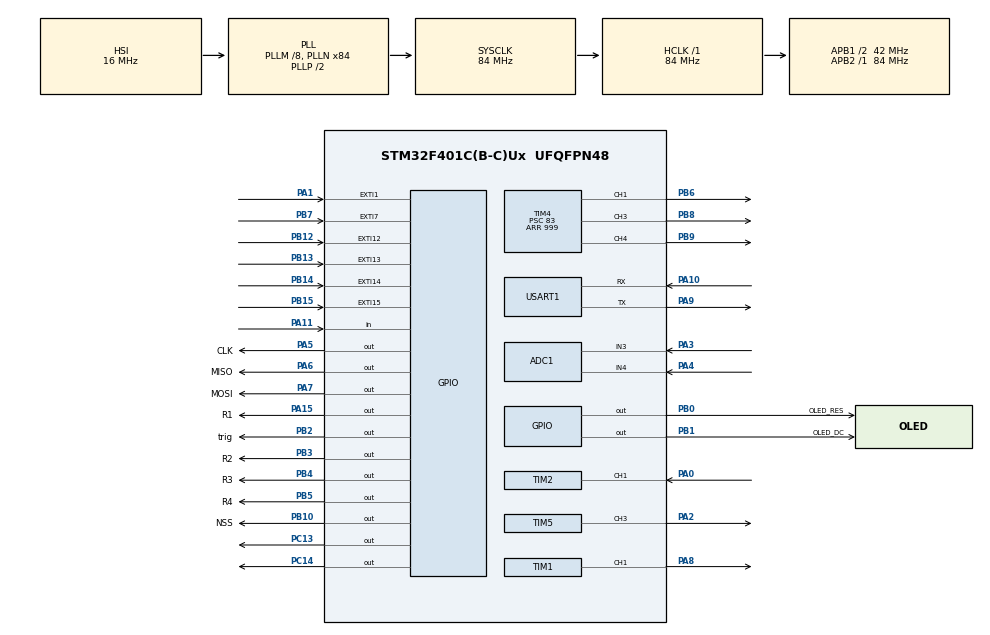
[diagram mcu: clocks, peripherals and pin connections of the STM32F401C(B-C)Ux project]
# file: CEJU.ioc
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ADC1.Channel-0\#ChannelRegularConversion=ADC_CHANNEL_4
ADC1.Channel-1\#ChannelRegularConversion=ADC_CHANNEL_3
ADC1.Channel-2\#ChannelRegularConversion=ADC_CHANNEL_3
ADC1.ClockPrescaler=ADC_CLOCK_SYNC_PCLK_DIV6
ADC1.ContinuousConvMode=DISABLE
ADC1.DMAContinuousRequests=DISABLE
ADC1.DiscontinuousConvMode=ENABLE
ADC1.InjNumberOfConversion=0
ADC1.NbrOfConversion=3
ADC1.NbrOfConversionFlag=1
ADC1.Rank-0\#ChannelRegularConversion=1
ADC1.Rank-1\#ChannelRegularConversion=2
ADC1.Rank-2\#ChannelRegularConversion=3
ADC1.SamplingTime-0\#ChannelRegularConversion=ADC_SAMPLETIME_3CYCLES
ADC1.SamplingTime-1\#ChannelRegularConversion=ADC_SAMPLETIME_3CYCLES
ADC1.SamplingTime-2\#ChannelRegularConversion=ADC_SAMPLETIME_3CYCLES
ADC1.ScanConvMode=ENABLE
ADC1.master=1
Dma.Request0=USART1_RX
Dma.Request1=USART1_TX
Dma.USART1_RX.0.Direction=DMA_PERIPH_TO_MEMORY
Dma.USART1_RX.0.FIFOMode=DMA_FIFOMODE_DISABLE
Dma.USART1_RX.0.Instance=DMA2_Stream2
Dma.USART1_RX.0.MemDataAlignment=DMA_MDATAALIGN_BYTE
Dma.USART1_RX.0.MemInc=DMA_MINC_ENABLE
Dma.USART1_RX.0.Mode=DMA_NORMAL
Dma.USART1_RX.0.PeriphDataAlignment=DMA_PDATAALIGN_BYTE
Dma.USART1_RX.0.PeriphInc=DMA_PINC_DISABLE
Dma.USART1_RX.0.Priority=DMA_PRIORITY_LOW
Dma.USART1_TX.1.Direction=DMA_MEMORY_TO_PERIPH
Dma.USART1_TX.1.FIFOMode=DMA_FIFOMODE_DISABLE
Dma.USART1_TX.1.Instance=DMA2_Stream7
Dma.USART1_TX.1.MemDataAlignment=DMA_MDATAALIGN_BYTE
Dma.USART1_TX.1.MemInc=DMA_MINC_ENABLE
Dma.USART1_TX.1.Mode=DMA_NORMAL
Dma.USART1_TX.1.PeriphDataAlignment=DMA_PDATAALIGN_BYTE
Dma.USART1_TX.1.PeriphInc=DMA_PINC_DISABLE
Dma.USART1_TX.1.Priority=DMA_PRIORITY_LOW
Mcu.Family=STM32F4
Mcu.Name=STM32F401C(B-C)Ux
Mcu.Package=UFQFPN48
NVIC.DMA2_Stream2_IRQn=true\:0\:0\:false\:false\:true\:false\:true\:true
NVIC.DMA2_Stream7_IRQn=true\:0\:0\:false\:false\:true\:false\:true\:true
NVIC.EXTI15_10_IRQn=true\:15\:0\:true\:false\:true\:true\:true\:true
NVIC.EXTI1_IRQn=true\:15\:0\:true\:false\:true\:true\:true\:true
NVIC.EXTI9_5_IRQn=true\:0\:0\:false\:false\:true\:true\:true\:true
NVIC.PriorityGroup=NVIC_PRIORITYGROUP_4
NVIC.TIM2_IRQn=true\:0\:0\:false\:false\:true\:true\:true\:true
NVIC.TIM4_IRQn=true\:0\:0\:false\:false\:true\:true\:true\:true
NVIC.USART1_IRQn=true\:15\:0\:true\:false\:true\:true\:true\:true
PA0-WKUP.Signal=S_TIM2_CH1_ETR
PA1.GPIO_PuPd=GPIO_PULLUP
PA1.Signal=GPXTI1
PA10.Mode=Asynchronous
PA10.Signal=USART1_RX
PA11.Signal=GPIO_Input
PA13.Mode=Serial_Wire
PA13.Signal=SYS_JTMS-SWDIO
PA14.Mode=Serial_Wire
PA14.Signal=SYS_JTCK-SWCLK
PA15.GPIO_Label=R1
PA15.Signal=GPIO_Output
PA2.Signal=S_TIM5_CH3
PA3.Signal=ADCx_IN3
PA4.Signal=ADCx_IN4
PA5.GPIO_Label=CLK
PA5.Signal=GPIO_Output
PA6.GPIO_Label=MISO
PA6.Signal=GPIO_Output
PA7.GPIO_Label=MOSI
PA7.Signal=GPIO_Output
PA8.Signal=S_TIM1_CH1
PA9.Mode=Asynchronous
PA9.Signal=USART1_TX
PB0.GPIO_Label=OLED_RES
PB0.GPIO_Speed=GPIO_SPEED_FREQ_HIGH
PB0.Signal=GPIO_Output
PB1.GPIO_Label=OLED_DC
PB1.GPIO_Speed=GPIO_SPEED_FREQ_HIGH
PB1.Signal=GPIO_Output
PB10.GPIO_Label=NSS
PB10.Signal=GPIO_Output
PB12.GPIO_ModeDefaultEXTI=GPIO_MODE_IT_FALLING
PB12.GPIO_PuPd=GPIO_PULLUP
PB12.Signal=GPXTI12
PB13.GPIO_ModeDefaultEXTI=GPIO_MODE_IT_FALLING
PB13.GPIO_PuPd=GPIO_PULLUP
PB13.Signal=GPXTI13
PB14.GPIO_ModeDefaultEXTI=GPIO_MODE_IT_FALLING
PB14.GPIO_PuPd=GPIO_PULLUP
PB14.Signal=GPXTI14
PB15.GPIO_ModeDefaultEXTI=GPIO_MODE_IT_FALLING
PB15.GPIO_PuPd=GPIO_PULLUP
PB15.Signal=GPXTI15
PB2.GPIO_Label=trig
PB2.Signal=GPIO_Output
PB3.GPIO_Label=R2
PB3.Signal=GPIO_Output
PB4.GPIO_Label=R3
PB4.Signal=GPIO_Output
PB5.GPIO_Label=R4
PB5.Signal=GPIO_Output
PB6.Signal=S_TIM4_CH1
PB7.GPIO_PuPd=GPIO_PULLUP
PB7.Signal=GPXTI7
PB8.Signal=S_TIM4_CH3
PB9.Signal=S_TIM4_CH4
PC13-ANTI_TAMP.Signal=GPIO_Output
PC14-OSC32_IN.GPIO_ModeDefaultOutputPP=GPIO_MODE_OUTPUT_PP
PC14-OSC32_IN.GPIO_PuPd=GPIO_PULLUP
PC14-OSC32_IN.PinState=GPIO_PIN_SET
PC14-OSC32_IN.Signal=GPIO_Output
PH0\ -\ OSC_IN.Mode=HSE-External-Oscillator
PH0\ -\ OSC_IN.Signal=RCC_OSC_IN
PH1\ -\ OSC_OUT.Mode=HSE-External-Oscillator
PH1\ -\ OSC_OUT.Signal=RCC_OSC_OUT
ProjectManager.HeapSize=0x200
ProjectManager.StackSize=0x400
ProjectManager.TargetToolchain=MDK-ARM V5.32
RCC.48MHZClocksFreq_Value=42000000
RCC.AHBFreq_Value=84000000
RCC.APB1CLKDivider=RCC_HCLK_DIV2
RCC.APB1Freq_Value=42000000
RCC.APB1TimFreq_Value=84000000
RCC.APB2Freq_Value=84000000
RCC.APB2TimFreq_Value=84000000
RCC.CortexFreq_Value=84000000
RCC.HCLKFreq_Value=84000000
RCC.HSE_VALUE=25000000
RCC.HSI_VALUE=16000000
RCC.LSE_VALUE=32768
RCC.PLLM=8
RCC.PLLN=84
RCC.SYSCLKFreq_VALUE=84000000
RCC.SYSCLKSource=RCC_SYSCLKSOURCE_PLLCLK
RCC.VCOOutputFreq_Value=168000000
SH.ADCx_IN3.0=ADC1_IN3,IN3
SH.ADCx_IN4.0=ADC1_IN4,IN4
SH.S_TIM1_CH1.0=TIM1_CH1,PWM Generation1 CH1
SH.S_TIM2_CH1_ETR.0=TIM2_CH1,Input_Capture1_from_TI1
SH.S_TIM2_CH1_ETR.1=TIM2_CH1,TriggerSource_TI1FP1
SH.S_TIM4_CH1.0=TIM4_CH1,PWM Generation1 CH1
SH.S_TIM4_CH3.0=TIM4_CH3,PWM Generation3 CH3
SH.S_TIM4_CH4.0=TIM4_CH4,PWM Generation4 CH4
SH.S_TIM5_CH3.0=TIM5_CH3,PWM Generation3 CH3
TIM1.Channel-PWM\ Generation1\ CH1=TIM_CHANNEL_1
TIM1.Period=999
TIM1.Prescaler=83
TIM2.Channel-Input_Capture1_from_TI1=TIM_CHANNEL_1
TIM2.Channel-Input_Capture2_from_TI1_63=TIM_CHANNEL_2
TIM2.ICPolarity_CH2=TIM_INPUTCHANNELPOLARITY_FALLING
TIM4.Channel-PWM\ Generation1\ CH1=TIM_CHANNEL_1
TIM4.Channel-PWM\ Generation3\ CH3=TIM_CHANNEL_3
TIM4.Channel-PWM\ Generation4\ CH4=TIM_CHANNEL_4
TIM4.Period=999
TIM4.Prescaler=83
TIM5.AutoReloadPreload=TIM_AUTORELOAD_PRELOAD_ENABLE
TIM5.Channel-PWM\ Generation3\ CH3=TIM_CHANNEL_3
TIM5.Period=999
TIM5.Prescaler=83
USART1.VirtualMode=VM_ASYNC
VP_ADC1_TempSens_Input.Mode=IN-TempSens
VP_TIM1_VS_ClockSourceINT.Mode=Internal
VP_TIM2_VS_ClockSourceINT.Mode=Internal
VP_TIM2_VS_ControllerModeReset.Mode=Reset Mode
VP_TIM2_VS_indirect_ch1.Mode=Input_Capture2_from_TI1_63
VP_TIM4_VS_ClockSourceINT.Mode=Internal
VP_TIM5_VS_ClockSourceINT.Mode=Internal
VP_TIM9_VS_ClockSourceINT.Mode=Internal
board=custom

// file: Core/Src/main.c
/* USER CODE BEGIN Header */
/**
  ******************************************************************************
  * @file           : main.c
  * @brief          : Main program body
  ******************************************************************************
  * @attention
  *
  * Copyright (c) 2023 STMicroelectronics.
  * All rights reserved.
  *
  * This software is licensed under terms that can be found in the LICENSE file
  * in the root directory of this software component.
  * If no LICENSE file comes with this software, it is provided AS-IS.
  *
  ******************************************************************************
  */
/* USER CODE END Header */
#include "main.h"
#include "adc.h"
#include "dma.h"
#include "tim.h"
#include "usart.h"
#include "gpio.h"

/* USER CODE BEGIN Includes */
#include "stdio.h"
#include "oled.h"
#include "bmp.h"
/* USER CODE END Includes */

/* USER CODE BEGIN PV */
uint8_t gpioReadStatus = GPIO_PIN_RESET;
/* USER CODE END PV */

void SystemClock_Config(void);

/* USER CODE BEGIN 0 */
float pulseWidth;//脉宽（测距）
int second=0;//秒数
double m=0;
double s=0;
extern int keyflag;//回退键标志位
extern int keyflag2;//其他标志位
extern int keyflag3;
int taskflag1=0;
int task2flag=0;
int task3freq=1000;
float task3duty_change=0.5;
int task3duty_flag=1;
uint8_t  DATA[5]={0x3C,0x02,0,0,0x32};//串口数据包
int uart_task_flag1=0;
uint8_t RxBuffer[50];//串口接收
extern DMA_HandleTypeDef hdma_usart1_rx;//串口接收 关闭dma传输过半中断 需要的外部变量
void Trig()//触发函数，超声波测距起始信号
{
HAL_GPIO_WritePin(GPIOB,GPIO_PIN_2,GPIO_PIN_SET);
HAL_Delay(1);//延时1ms
HAL_GPIO_WritePin(GPIOB,GPIO_PIN_2,GPIO_PIN_RESET);
}

float duty=0;
float freq=0;
int fputc(int ch, FILE *f)
{
HAL_UART_Transmit(&huart1, (uint8_t *)&ch, 1, 0xffff);
return ch;
}

uint8_t Key_Scan(void)
{
	GPIO_InitTypeDef GPIO_InitStruct = {0};

	/*?4????????*/
	HAL_GPIO_WritePin(GPIOB, GPIO_PIN_12|GPIO_PIN_13|GPIO_PIN_14|GPIO_PIN_15, GPIO_PIN_RESET);

	//?4???????
	GPIO_InitStruct.Pin = GPIO_PIN_12|GPIO_PIN_13|GPIO_PIN_14|GPIO_PIN_15;
	GPIO_InitStruct.Mode = GPIO_MODE_OUTPUT_PP;
	GPIO_InitStruct.Pull = GPIO_NOPULL;
	GPIO_InitStruct.Speed = GPIO_SPEED_FREQ_LOW;
	HAL_GPIO_Init(GPIOB, &GPIO_InitStruct);

	//?4???????
	GPIO_InitStruct.Pin = GPIO_PIN_3|GPIO_PIN_4|GPIO_PIN_5;
	GPIO_InitStruct.Mode = GPIO_MODE_INPUT;
	GPIO_InitStruct.Pull = GPIO_PULLUP;
	HAL_GPIO_Init(GPIOB, &GPIO_InitStruct);
	GPIO_InitStruct.Pin = GPIO_PIN_15;
	HAL_GPIO_Init(GPIOA, &GPIO_InitStruct);
	HAL_Delay(10);
	if(HAL_GPIO_ReadPin(GPIOA,GPIO_PIN_15)==GPIO_PIN_RESET)//???1?
	{
		/*?4????????*/
		HAL_GPIO_WritePin(GPIOB, GPIO_PIN_3|GPIO_PIN_4|GPIO_PIN_5, GPIO_PIN_RESET);
		HAL_GPIO_WritePin(GPIOA, GPIO_PIN_15, GPIO_PIN_RESET);
		//?4???????
		GPIO_InitStruct.Mode = GPIO_MODE_OUTPUT_PP;
		GPIO_InitStruct.Pin = GPIO_PIN_3|GPIO_PIN_4|GPIO_PIN_5;
		HAL_GPIO_Init(GPIOB, &GPIO_InitStruct);
		GPIO_InitStruct.Pin = GPIO_PIN_15;
		HAL_GPIO_Init(GPIOA, &GPIO_InitStruct);
		//?4???????
		GPIO_InitStruct.Mode = GPIO_MODE_INPUT;
		GPIO_InitStruct.Pull = GPIO_PULLUP;
	  GPIO_InitStruct.Pin = GPIO_PIN_12|GPIO_PIN_13|GPIO_PIN_14|GPIO_PIN_15;
		HAL_GPIO_Init(GPIOB, &GPIO_InitStruct);
		HAL_Delay(10);
		if(HAL_GPIO_ReadPin(GPIOB, GPIO_PIN_15)==GPIO_PIN_RESET)return 10;//+
		if(HAL_GPIO_ReadPin(GPIOB, GPIO_PIN_14)==GPIO_PIN_RESET)return 3;
		if(HAL_GPIO_ReadPin(GPIOB, GPIO_PIN_13)==GPIO_PIN_RESET)return 2;
		if(HAL_GPIO_ReadPin(GPIOB, GPIO_PIN_12)==GPIO_PIN_RESET)return 1;
	}
	if(HAL_GPIO_ReadPin(GPIOB,GPIO_PIN_3)==GPIO_PIN_RESET)//???2?
	{
			/*?4????????*/
		HAL_GPIO_WritePin(GPIOB, GPIO_PIN_3|GPIO_PIN_4|GPIO_PIN_5, GPIO_PIN_RESET);
		HAL_GPIO_WritePin(GPIOA, GPIO_PIN_15, GPIO_PIN_RESET);
		//?4???????
		GPIO_InitStruct.Mode = GPIO_MODE_OUTPUT_PP;
		GPIO_InitStruct.Pin = GPIO_PIN_3|GPIO_PIN_4|GPIO_PIN_5;
		HAL_GPIO_Init(GPIOB, &GPIO_InitStruct);
		GPIO_InitStruct.Pin = GPIO_PIN_15;
		HAL_GPIO_Init(GPIOA, &GPIO_InitStruct);
		//?4???????
		GPIO_InitStruct.Mode = GPIO_MODE_INPUT;
		GPIO_InitStruct.Pull = GPIO_PULLUP;
	  GPIO_InitStruct.Pin = GPIO_PIN_12|GPIO_PIN_13|GPIO_PIN_14|GPIO_PIN_15;
		HAL_GPIO_Init(GPIOB, &GPIO_InitStruct);
		HAL_Delay(10);
		if(HAL_GPIO_ReadPin(GPIOB, GPIO_PIN_15)==GPIO_PIN_RESET)return 11;//-
		if(HAL_GPIO_ReadPin(GPIOB, GPIO_PIN_14)==GPIO_PIN_RESET)return 6;
		if(HAL_GPIO_ReadPin(GPIOB, GPIO_PIN_13)==GPIO_PIN_RESET)return 5;
		if(HAL_GPIO_ReadPin(GPIOB, GPIO_PIN_12)==GPIO_PIN_RESET)return 4;
	}
	if(HAL_GPIO_ReadPin(GPIOB,GPIO_PIN_4)==GPIO_PIN_RESET)//???3?
	{
			/*?4????????*/
		HAL_GPIO_WritePin(GPIOB, GPIO_PIN_3|GPIO_PIN_4|GPIO_PIN_5, GPIO_PIN_RESET);
		HAL_GPIO_WritePin(GPIOA, GPIO_PIN_15, GPIO_PIN_RESET);
		//?4???????
		GPIO_InitStruct.Mode = GPIO_MODE_OUTPUT_PP;
		GPIO_InitStruct.Pin = GPIO_PIN_3|GPIO_PIN_4|GPIO_PIN_5;
		HAL_GPIO_Init(GPIOB, &GPIO_InitStruct);
		GPIO_InitStruct.Pin = GPIO_PIN_15;
		HAL_GPIO_Init(GPIOA, &GPIO_InitStruct);
		//?4???????
		GPIO_InitStruct.Mode = GPIO_MODE_INPUT;
		GPIO_InitStruct.Pull = GPIO_PULLUP;
	  GPIO_InitStruct.Pin = GPIO_PIN_12|GPIO_PIN_13|GPIO_PIN_14|GPIO_PIN_15;
		HAL_GPIO_Init(GPIOB, &GPIO_InitStruct);
		HAL_Delay(10);
		if(HAL_GPIO_ReadPin(GPIOB, GPIO_PIN_15)==GPIO_PIN_RESET)return 12;//*
		if(HAL_GPIO_ReadPin(GPIOB, GPIO_PIN_14)==GPIO_PIN_RESET)return 9;
		if(HAL_GPIO_ReadPin(GPIOB, GPIO_PIN_13)==GPIO_PIN_RESET)return 8;
		if(HAL_GPIO_ReadPin(GPIOB, GPIO_PIN_12)==GPIO_PIN_RESET)return 7;
	}
	if(HAL_GPIO_ReadPin(GPIOB,GPIO_PIN_5)==GPIO_PIN_RESET)//???4?
	{
			/*?4????????*/
		HAL_GPIO_WritePin(GPIOB, GPIO_PIN_3|GPIO_PIN_4|GPIO_PIN_5, GPIO_PIN_RESET);
		HAL_GPIO_WritePin(GPIOA, GPIO_PIN_15, GPIO_PIN_RESET);
		//?4???????
		GPIO_InitStruct.Mode = GPIO_MODE_OUTPUT_PP;
		GPIO_InitStruct.Pin = GPIO_PIN_3|GPIO_PIN_4|GPIO_PIN_5;
		HAL_GPIO_Init(GPIOB, &GPIO_InitStruct);
		GPIO_InitStruct.Pin = GPIO_PIN_15;
		HAL_GPIO_Init(GPIOA, &GPIO_InitStruct);
		//?4???????
		GPIO_InitStruct.Mode = GPIO_MODE_INPUT;
		GPIO_InitStruct.Pull = GPIO_PULLUP;
	  GPIO_InitStruct.Pin = GPIO_PIN_12|GPIO_PIN_13|GPIO_PIN_14|GPIO_PIN_15;
		HAL_GPIO_Init(GPIOB, &GPIO_InitStruct);
		HAL_Delay(10);
		if(HAL_GPIO_ReadPin(GPIOB, GPIO_PIN_15)==GPIO_PIN_RESET)return 13;///
		if(HAL_GPIO_ReadPin(GPIOB, GPIO_PIN_14)==GPIO_PIN_RESET)return 14;//=
		if(HAL_GPIO_ReadPin(GPIOB, GPIO_PIN_13)==GPIO_PIN_RESET)return 0;
		if(HAL_GPIO_ReadPin(GPIOB, GPIO_PIN_12)==GPIO_PIN_RESET)return 15;//.
	}
	return 20;
}
void SendIlluminanceData(uint8_t illuminance, GPIO_TypeDef* GPIOx, uint16_t GPIO_Pin) {
    char dataToSend[5]; // ????????
    // ????:LxxRy,?? xx ?????(???),y ??GPIO???1?0

    // ??????? 00 ? 99 ????
    if (illuminance <10) {
        illuminance = 99;
    }
		else if(illuminance <10)illuminance=10;
    // ????GPIO?????,??????????1?0
    gpioReadStatus = HAL_GPIO_ReadPin(GPIOx, GPIO_Pin);

    // ??????
    dataToSend[0] = 'L'; // ????'L'
    dataToSend[1] = '0' + (illuminance / 10); // ???????
    dataToSend[2] = '0' + (illuminance % 10); // ???????
    dataToSend[3] = 'R'; // ????'R'
    dataToSend[4] = gpioReadStatus ? '1' : '0';  // ????????GPIO??

    // ????????
    HAL_UART_Transmit(&huart1, (uint8_t *)dataToSend, sizeof(dataToSend), HAL_MAX_DELAY);
}
/* USER CODE END 0 */

int main(void)
{

  /* MCU Configuration--------------------------------------------------------*/

  /* Reset of all peripherals, Initializes the Flash interface and the Systick. */
  HAL_Init();

  /* Configure the system clock */
  SystemClock_Config();

  /* Initialize all configured peripherals */
  MX_GPIO_Init();
  MX_DMA_Init();
  MX_TIM4_Init();
  MX_TIM2_Init();
  MX_ADC1_Init();
  MX_USART1_UART_Init();
  MX_TIM9_Init();
  MX_TIM5_Init();
  MX_TIM1_Init();
  /* USER CODE BEGIN 2 */
	OLED_Init();
	HAL_TIM_PWM_Start(&htim4,TIM_CHANNEL_1);
	HAL_TIM_PWM_Start(&htim5,TIM_CHANNEL_3);
	HAL_TIM_PWM_Start(&htim1,TIM_CHANNEL_1);
	HAL_TIM_PWM_Start(&htim4,TIM_CHANNEL_3);
	HAL_TIM_PWM_Start(&htim4,TIM_CHANNEL_4);
	//TIM4->CCR1=200;TIM4->ARR=300;//产生一个占空比50%，频率1k的pwm波
	TIM5->CCR3=50;
	HAL_TIM_Base_Start_IT(&htim4);
HAL_TIM_IC_Start_IT(&htim2, TIM_CHANNEL_1);
HAL_TIM_IC_Start_IT(&htim2, TIM_CHANNEL_2);
//HAL_UART_Receive_IT(&huart1, RxBuffer, 3);
HAL_UARTEx_ReceiveToIdle_DMA(&huart1,RxBuffer, 50);//第一次开启串口接收
//uint32_t adc_value1;
//uint32_t adc_value2;
uint32_t adc_value[3];
  /* USER CODE END 2 */

  /* Infinite loop */
  while (1)
  {

    /* USER CODE BEGIN 3 */

	  /*******ADC测量********/
		//HAL_ADC_Start_DMA(&hadc1,&adc_value1,1);
    //HAL_ADC_Start_DMA(&hadc1,&adc_value2,1);

	  //adc_value=HAL_ADC_GetValue(&hadc1);

			for(int i=0;i<2;i++)
		{
			HAL_ADC_Start(&hadc1);
			HAL_ADC_PollForConversion(&hadc1,50);
			adc_value[i]=HAL_ADC_GetValue(&hadc1);
		}
			HAL_ADC_Stop(&hadc1);

		int a=(int)adc_value[1]/41;  //light
		//printf("%d\n",a);
		/*
		TIM4->CCR1=a/2;
		TIM4->ARR=a;
		*/
		OLED_ShowString(0,4,"            ");
		//OLED_Show_int(60,4,adc_value[0]);
		OLED_Show_int(0,4,abs(a-99));
		OLED_ShowString(0,8,"status:");
		OLED_Show_int(0,8,gpioReadStatus);
		SendIlluminanceData((uint8_t)abs(a-99),GPIOA,GPIO_PIN_11);
		//printf("%d\n",abs(a-99));
		HAL_Delay(500);

		/*******画图******/
		//OLED_DrawBMP(0, 0, 128, 8, yuanshen);

		/*******按键检测*****/
		{
//		if(keyflag)
//		{
//			do//等到有输入值再继续执行程序
//			{
//				 b=Key_Scan();
//			}
//		while(b==20);
//			if(b==0)
//				HAL_GPIO_TogglePin(GPIOB,GPIO_PIN_9);
//			if(b==1)
//			{
//			 TIM5->CCR3=50;//PWM占空比
//			 TIM5->ARR=100;//PWM周期
//			}
//			if(b==2)
//			{
//			 TIM5->ARR=100;//改周期
//			 if(task2flag==0)
//			 {
//				 TIM5->CCR3=10;//改占空比
//			 task2flag=1;
//			 }
//			 else
//			 {
//				 task2flag=1;
//				 if(TIM5->CCR3>90)
//					 task2flag=0;
//				else
//					{
//					TIM5->CCR3++;
//				  }
//			 }
//			}
//			if(b==3)
//			{
//				printf("task3ferq:%d\n",task3freq);printf("Duty:%.2f,freq:%.2f\r\n",duty,freq);
//
//				task3duty_change=(float)TIM5->CCR3/(float)TIM5->ARR;
//				TIM5->ARR=(int)(100000.0/task3freq);printf("arr:%d\n",TIM5->ARR);
//				TIM5->CCR3=(int)(task3duty_change*(float)TIM5->ARR);OLED_Show_int(60,2,(int)(task3duty_change*(float)TIM5->ARR));OLED_Show_int(60,4,TIM5->ARR);printf("arr2:%d\n",TIM5->ARR);
//				if(task3freq>9500)
//					task3freq=500;
//				task3freq=task3freq+500;
//				printf("task3ferq:%d\n",task3freq);printf("Duty:%.2f,freq:%.2f\r\n",duty,freq);printf("task3duty_change:%f\n\n",task3duty_change);
//			}
//			if(b==4)
//			{
//				OLED_Show_float(0,0,duty);
//				OLED_Show_float(60,0,freq);
//			}
//			if(b==5)
//			{

//			}
//
//
//
//
//
//
//
//			keyflag=0;
//		}
}

switch(Key_Scan())
{
	case 0:
		HAL_GPIO_TogglePin(GPIOB,GPIO_PIN_9);
	while(keyflag==0){HAL_Delay(1);}//按下按键返回上一级
	break;
	case 1:/********输出定频率方波********/
		OLED_Clear();
	 TIM5->CCR3=500;//PWM占空比
	 TIM5->ARR=1000-1;//PWM周期
	 printf("Duty:%.2f,freq:%.2f\r\n",duty,freq);
	while(keyflag==0){HAL_Delay(1);}//按下按键返回上一级
	break;
	case 2:/********改占空比+1%********/
		OLED_Clear();
	 TIM5->ARR=1000-1;//改周期
	 if(task2flag==0)
	 {
		 TIM5->CCR3=100;//改占空比
		task2flag=1;
	 }
	 else
	 {
		 task2flag=1;
		 if(TIM5->CCR3>900)
			 task2flag=0;
			else
			TIM5->CCR3=TIM5->CCR3+10;
	 }
	  printf("Duty:%.2f,freq:%.2f\r\n",duty,freq);
	 while(keyflag==0){HAL_Delay(1);}//按下按键返回上一级
		break;
	case 3:/********变化输出频率+500********/
		OLED_Clear();
		//printf("task3ferq:%d\n",task3freq);printf("Duty:%.2f,freq:%.2f\r\n",duty,freq);
		if(task3duty_flag)
			task3duty_change=(float)TIM5->CCR3/(float)TIM5->ARR;//获取原先的输出占空比
		TIM5->ARR=(int)(1000000.0/task3freq)-1;//根据频率调整周期（arr）
		TIM5->CCR3=(int)(task3duty_change*(float)TIM5->ARR);//根据占空比和周期调整ccr，使输出的占空比不变
		/*OLED_Show_int(60,2,TIM5->CCR3);OLED_Show_int(60,4,TIM5->ARR);*/printf("ccr:%d\n",TIM5->CCR3);printf("arr:%d\n",TIM5->ARR);//打印频率和占空比
		OLED_Show_float(60,2,(float)TIM5->CCR3/TIM5->ARR);OLED_Show_int(60,4,task3freq);
		if(task3freq>9500)//范围是500-9500Hz
			task3freq=500;
		task3freq=task3freq+500;//频率调整，执行一次加500Hz
		printf("task3ferq:%d\n",task3freq);printf("Duty:%.2f,freq:%.2f\r\n",duty,freq);printf("task3duty_change:%f\n\n",task3duty_change);
		task3duty_flag=0;//获取过占空比后就不再改变目标占空比task3duty_change的值
		while(keyflag==0){HAL_Delay(1);}//按下按键返回上一级
		break;
	case 4:/********输入捕获检测占空比和频率并显示出来********/
		OLED_Clear();
		OLED_Show_float(0,0,duty);
		OLED_Show_float(60,0,freq);
	while(keyflag==0){HAL_Delay(1);}//按下按键返回上一级
	break;
	case 5:/********检测输入频率倍频输出******/
		OLED_Clear();
		printf("Duty:%.2f,freq:%.2f\r\n",duty,freq);
		TIM5->ARR=(int)(1000000.0/(freq*3))-1;//3倍频
		TIM5->CCR3=(int)(duty*(float)TIM5->ARR);OLED_Show_float(60,2,duty);OLED_Show_float(60,4,freq);//OLED_Show_int(60,2,TIM5->CCR3);OLED_Show_int(60,4,TIM5->ARR);
	while(keyflag==0){HAL_Delay(1);}//按下按键返回上一级
	break;
	case 6:/********测距*******/
		OLED_Clear();
		while(keyflag==0)//按下按键返回上一级
		{
			Trig();
		HAL_Delay(10);
		//printf("Duty:%.2f,freq:%.2f\r\n",duty,freq);
			OLED_Clear();
			OLED_ShowCHinese(0,0,29);OLED_ShowCHinese(16,0,30);OLED_ShowCHinese(32,0,31);
		OLED_Show_float(48,0,pulseWidth*34000/2);OLED_ShowString(80,0,"cm");
		//printf("%.2fcm\r\n",pulseWidth*34000/2);
			if(pulseWidth*34000/2>25)
			{
				TIM4->CCR3=0;TIM1->CCR1=999;TIM4->CCR4=999;

//			HAL_GPIO_WritePin(GPIOB,GPIO_PIN_9,1);//关
			HAL_GPIO_WritePin(GPIOC,GPIO_PIN_14,0);
	//		HAL_GPIO_TogglePin(GPIOB,GPIO_PIN_9);
//			HAL_Delay(100);
//			HAL_GPIO_TogglePin(GPIOB,GPIO_PIN_9);
//			HAL_Delay(100);
//			HAL_GPIO_TogglePin(GPIOB,GPIO_PIN_9);
//			HAL_Delay(100);
//			HAL_GPIO_TogglePin(GPIOB,GPIO_PIN_9);
//			HAL_Delay(100);
//			HAL_GPIO_TogglePin(GPIOB,GPIO_PIN_9);
			HAL_Delay(200);
//			HAL_GPIO_TogglePin(GPIOB,GPIO_PIN_9);
		  HAL_GPIO_WritePin(GPIOC,GPIO_PIN_14,1);
				HAL_Delay(800);
			}
			if(15<pulseWidth*34000/2&&pulseWidth*34000/2<25)
			{TIM4->CCR3=999;TIM1->CCR1=0;TIM4->CCR4=999;
			HAL_GPIO_WritePin(GPIOC,GPIO_PIN_14,0);HAL_Delay(200);
		  HAL_GPIO_WritePin(GPIOC,GPIO_PIN_14,1);HAL_Delay(300);
			HAL_GPIO_WritePin(GPIOC,GPIO_PIN_14,0);HAL_Delay(200);
		  HAL_GPIO_WritePin(GPIOC,GPIO_PIN_14,1);HAL_Delay(300);}
			if(pulseWidth*34000/2<15)
			{TIM4->CCR3=999;TIM1->CCR1=999;TIM4->CCR4=0;
			HAL_GPIO_WritePin(GPIOC,GPIO_PIN_14,0);HAL_Delay(100);
		  HAL_GPIO_WritePin(GPIOC,GPIO_PIN_14,1);HAL_Delay(150);
			HAL_GPIO_WritePin(GPIOC,GPIO_PIN_14,0);HAL_Delay(100);
		  HAL_GPIO_WritePin(GPIOC,GPIO_PIN_14,1);HAL_Delay(150);}
			TIM4->CCR3=999;TIM1->CCR1=999;TIM4->CCR4=999;
		}
		break;
	case 7:/******显示文本******/
		OLED_Clear();
		OLED_ShowCHinese(0,0,0);OLED_ShowCHinese(16,0,1);OLED_ShowCHinese(32,0,2);OLED_ShowCHinese(48,0,3);OLED_ShowCHinese(64,0,4);OLED_ShowCHinese(80,0,5);OLED_ShowCHinese(96,0,6);OLED_ShowCHinese(112,0,7);OLED_ShowCHinese(0,2,8);OLED_ShowCHinese(16,2,9);
		if(taskflag1==0)
			second=0;
		taskflag1=1;

while(keyflag==0){
	m=second/60000;s=(second/1000)%60;//分和秒的设置
	OLED_Show_int(0,6,(int)m);OLED_ShowCHinese(16,6,27);OLED_Show_int(32,6,(int)s);OLED_ShowCHinese(48,6,28);
}//按下按键返回上一级
		break;
	case 8:/******GPIO********/
		OLED_Clear();
		while(keyflag3==0){
		TIM4->CCR3=999;TIM1->CCR1=999;/*b*/TIM4->CCR4=0;/*r*/HAL_Delay(1000);TIM4->CCR4=999;
		TIM4->CCR3=0;HAL_Delay(1000);TIM4->CCR3=999;
		TIM1->CCR1=0;HAL_Delay(1000);
			TIM4->CCR3=0;TIM4->CCR4=0;HAL_GPIO_WritePin(GPIOC,GPIO_PIN_14,0);
			HAL_Delay(250);HAL_GPIO_WritePin(GPIOC,GPIO_PIN_14,1);HAL_Delay(250);HAL_GPIO_WritePin(GPIOC,GPIO_PIN_14,0);HAL_Delay(250);HAL_GPIO_WritePin(GPIOC,GPIO_PIN_14,1);HAL_Delay(250);

		}
HAL_GPIO_TogglePin(GPIOC,GPIO_PIN_13);
		TIM4->CCR3=999;TIM1->CCR1=999;TIM4->CCR4=999;
		for(int g=0;g<3;g++){
			for(int i=999;i>0;i--)
			{TIM4->CCR3=i;
			HAL_Delay(6);}
			for(int i=0;i<999;i++)
			{TIM4->CCR3=i;
			HAL_Delay(6);}

		}

		break;

}
		//HAL_GPIO_TogglePin(GPIOB,GPIO_PIN_9);

		OLED_Clear();//模块程序执行完毕清屏
		//OLED_ShowCHinese(0,6,24);OLED_ShowCHinese(16,6,25);OLED_ShowCHinese(32,6,26);//显示主菜单
		OLED_ShowCHinese(0,0,32);OLED_ShowCHinese(16,0,33);OLED_ShowCHinese(32,0,34);OLED_ShowCHinese(48,0,31);//显示
		keyflag=0;//使下一次按键操作可以正常通过回退键返回
keyflag2=0;
keyflag3=0;
		HAL_GPIO_TogglePin(GPIOC,GPIO_PIN_13);//检测程序用
  }
  /* USER CODE END 3 */
}

void SystemClock_Config(void)
{
  RCC_OscInitTypeDef RCC_OscInitStruct = {0};
  RCC_ClkInitTypeDef RCC_ClkInitStruct = {0};

  /** Configure the main internal regulator output voltage
  */
  __HAL_RCC_PWR_CLK_ENABLE();
  __HAL_PWR_VOLTAGESCALING_CONFIG(PWR_REGULATOR_VOLTAGE_SCALE2);

  /** Initializes the RCC Oscillators according to the specified parameters
  * in the RCC_OscInitTypeDef structure.
  */
  RCC_OscInitStruct.OscillatorType = RCC_OSCILLATORTYPE_HSI;
  RCC_OscInitStruct.HSIState = RCC_HSI_ON;
  RCC_OscInitStruct.HSICalibrationValue = RCC_HSICALIBRATION_DEFAULT;
  RCC_OscInitStruct.PLL.PLLState = RCC_PLL_ON;
  RCC_OscInitStruct.PLL.PLLSource = RCC_PLLSOURCE_HSI;
  RCC_OscInitStruct.PLL.PLLM = 8;
  RCC_OscInitStruct.PLL.PLLN = 84;
  RCC_OscInitStruct.PLL.PLLP = RCC_PLLP_DIV2;
  RCC_OscInitStruct.PLL.PLLQ = 4;
  if (HAL_RCC_OscConfig(&RCC_OscInitStruct) != HAL_OK)
  {
    Error_Handler();
  }

  /** Initializes the CPU, AHB and APB buses clocks
  */
  RCC_ClkInitStruct.ClockType = RCC_CLOCKTYPE_HCLK|RCC_CLOCKTYPE_SYSCLK
                              |RCC_CLOCKTYPE_PCLK1|RCC_CLOCKTYPE_PCLK2;
  RCC_ClkInitStruct.SYSCLKSource = RCC_SYSCLKSOURCE_PLLCLK;
  RCC_ClkInitStruct.AHBCLKDivider = RCC_SYSCLK_DIV1;
  RCC_ClkInitStruct.APB1CLKDivider = RCC_HCLK_DIV2;
  RCC_ClkInitStruct.APB2CLKDivider = RCC_HCLK_DIV1;

  if (HAL_RCC_ClockConfig(&RCC_ClkInitStruct, FLASH_LATENCY_2) != HAL_OK)
  {
    Error_Handler();
  }
}

/* USER CODE BEGIN 4 */

void HAL_TIM_PeriodElapsedCallback(TIM_HandleTypeDef *htim)//定时器更新溢出中断回调函数
{
	if(htim==&htim4)
		{
			second++;//printf("%d\n",second/1000);
			//OLED_Show_float(0,4,second/1000.0);
		}
}
void HAL_TIM_IC_CaptureCallback(TIM_HandleTypeDef *htim)//定时器输入捕获中断回调函数
	{
		if (htim->Channel == HAL_TIM_ACTIVE_CHANNEL_1&&htim->Instance==htim2.Instance)
		{
			freq= 84000000*1.0f/(TIM2->CCR1+1);
			duty=(float)(TIM2->CCR2+1)/(TIM2->CCR1+1);
			pulseWidth=(float)TIM2->CCR2/84000000*1.0f;
		}
	}
void HAL_UART_RxCpltCallback(UART_HandleTypeDef *huart)//串口接收完成中断回调函数
	{
		if(huart == &huart1)
		{
			HAL_UART_Transmit_IT(&huart1,RxBuffer,3);
			if(RxBuffer[0]=='1')
				HAL_GPIO_TogglePin(GPIOC,GPIO_PIN_13);
			HAL_UART_Receive_DMA(&huart1,RxBuffer, 50);//循环使能，才能不断接收
		}
	}
	void HAL_UARTEx_RxEventCallback(UART_HandleTypeDef *huart, uint16_t Size)//串口事件扩展回调函数
	{
		if(huart==&huart1)
		{
			//HAL_UART_Transmit_IT(&huart1,RxBuffer,Size);

			for(int i=0;i<Size;i++)
			{
				if(RxBuffer[i]==0x3E)
				{
					HAL_UART_Transmit(&huart1,&DATA[0],sizeof(DATA[0]),100);
					if(RxBuffer[i+1]==0x01)
					{
						HAL_UART_Transmit(&huart1,&DATA[1],sizeof(DATA[1]),100);
						switch(RxBuffer[i+2])
						{
							case 0x0A:uart_task_flag1=1;break;
							case 0x0B:uart_task_flag1=2;break;
							case 0x0C:uart_task_flag1=3;break;
						};
						if(uart_task_flag1==3)
						{
							HAL_GPIO_WritePin(GPIOA,GPIO_PIN_8,0);
							HAL_Delay(RxBuffer[i+3]*1000);
							HAL_GPIO_TogglePin(GPIOA,GPIO_PIN_8);
						}
						if(uart_task_flag1==2)
						{
							HAL_GPIO_WritePin(GPIOB,GPIO_PIN_8,0);
							HAL_Delay(RxBuffer[i+3]*1000);
							HAL_GPIO_TogglePin(GPIOB,GPIO_PIN_8);
						}
						if(uart_task_flag1==1)
						{
							HAL_GPIO_WritePin(GPIOC,GPIO_PIN_14,0);
							HAL_Delay(RxBuffer[i+3]*1000);
							HAL_GPIO_TogglePin(GPIOC,GPIO_PIN_14);
						}
				//HAL_GPIO_TogglePin(GPIOB,GPIO_PIN_9);
					}
				}
			}
			//HAL_GPIO_TogglePin(GPIOB,GPIO_PIN_9);
			HAL_UARTEx_ReceiveToIdle_DMA(&huart1,RxBuffer, 50);//直接内存访问下串口接收闲时开启
			__HAL_DMA_DISABLE_IT(&hdma_usart1_rx,DMA_IT_HT);//关闭dma传输过半中断
		}
	}
/* USER CODE END 4 */

void Error_Handler(void)
{
  __disable_irq();
  while (1)
  {
  }
}
